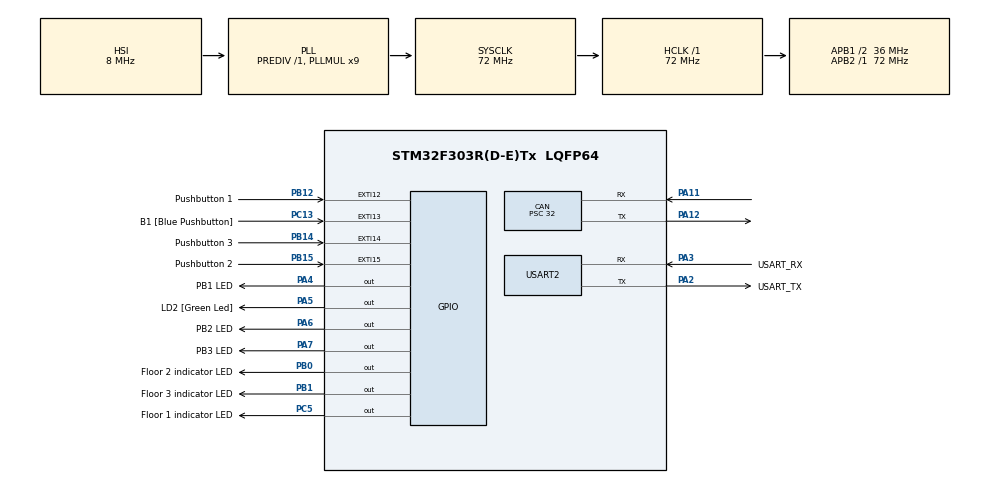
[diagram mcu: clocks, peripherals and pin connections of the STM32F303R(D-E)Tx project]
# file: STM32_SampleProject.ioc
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CAN.BS1=CAN_BS1_4TQ
CAN.BS2=CAN_BS2_4TQ
CAN.CalculateBaudRate=125000
CAN.CalculateTimeBit=8000
CAN.CalculateTimeQuantum=888.8888888888889
CAN.Prescaler=32
Mcu.Family=STM32F3
Mcu.Name=STM32F303R(D-E)Tx
Mcu.Package=LQFP64
NVIC.EXTI15_10_IRQn=true\:0\:0\:false\:false\:true\:true\:true\:true
NVIC.PriorityGroup=NVIC_PRIORITYGROUP_0
NVIC.USB_LP_CAN_RX0_IRQn=true\:0\:0\:false\:false\:true\:true\:true\:true
PA11.Mode=CAN_Activate
PA11.Signal=CAN_RX
PA12.Mode=CAN_Activate
PA12.Signal=CAN_TX
PA13.GPIO_Label=TMS
PA13.Mode=Serial_Wire
PA13.Signal=SYS_JTMS-SWDIO
PA14.GPIO_Label=TCK
PA14.Mode=Serial_Wire
PA14.Signal=SYS_JTCK-SWCLK
PA2.GPIO_Label=USART_TX
PA2.GPIO_Mode=GPIO_MODE_AF_PP
PA2.GPIO_PuPd=GPIO_NOPULL
PA2.GPIO_Speed=GPIO_SPEED_FREQ_LOW
PA2.Mode=Asynchronous
PA2.Signal=USART2_TX
PA3.GPIO_Label=USART_RX
PA3.GPIO_Mode=GPIO_MODE_AF_PP
PA3.GPIO_PuPd=GPIO_NOPULL
PA3.GPIO_Speed=GPIO_SPEED_FREQ_LOW
PA3.Mode=Asynchronous
PA3.Signal=USART2_RX
PA4.GPIO_Label=PB1 LED
PA4.Signal=GPIO_Output
PA5.GPIO_Label=LD2 [Green Led]
PA5.GPIO_Mode=GPIO_MODE_OUTPUT_PP
PA5.GPIO_PuPd=GPIO_NOPULL
PA5.GPIO_Speed=GPIO_SPEED_FREQ_LOW
PA5.Signal=GPIO_Output
PA6.GPIO_Label=PB2 LED
PA6.Signal=GPIO_Output
PA7.GPIO_Label=PB3 LED
PA7.Signal=GPIO_Output
PB0.GPIO_Label=Floor 2 indicator LED
PB0.Signal=GPIO_Output
PB1.GPIO_Label=Floor 3 indicator LED
PB1.Signal=GPIO_Output
PB12.GPIO_Label=Pushbutton 1
PB12.GPIO_ModeDefaultEXTI=GPIO_MODE_IT_FALLING
PB12.Signal=GPXTI12
PB14.GPIO_Label=Pushbutton 3
PB14.GPIO_ModeDefaultEXTI=GPIO_MODE_IT_FALLING
PB14.Signal=GPXTI14
PB15.GPIO_Label=Pushbutton 2
PB15.GPIO_ModeDefaultEXTI=GPIO_MODE_IT_FALLING
PB15.Signal=GPXTI15
PB3.GPIO_Label=SWO
PB3.Signal=SYS_JTDO-TRACESWO
PC13.GPIO_Label=B1 [Blue Pushbutton]
PC13.Signal=GPXTI13
PC14-OSC32_IN.Mode=LSE-External-Oscillator
PC14-OSC32_IN.Signal=RCC_OSC32_IN
PC15-OSC32_OUT.Mode=LSE-External-Oscillator
PC15-OSC32_OUT.Signal=RCC_OSC32_OUT
PC5.GPIO_Label=Floor 1 indicator LED
PC5.Signal=GPIO_Output
PF0-OSC_IN.Mode=HSE-External-Clock-Source
PF0-OSC_IN.Signal=RCC_OSC_IN
PF1-OSC_OUT.Signal=RCC_OSC_OUT
ProjectManager.HeapSize=0x200
ProjectManager.StackSize=0x400
ProjectManager.TargetToolchain=STM32CubeIDE
RCC.AHBFreq_Value=72000000
RCC.APB1CLKDivider=RCC_HCLK_DIV2
RCC.APB1Freq_Value=36000000
RCC.APB1TimFreq_Value=72000000
RCC.APB2Freq_Value=72000000
RCC.APB2TimFreq_Value=72000000
RCC.CortexFreq_Value=72000000
RCC.HCLKFreq_Value=72000000
RCC.HSE_VALUE=8000000
RCC.HSI_VALUE=8000000
RCC.PLLM=8
RCC.PLLMUL=RCC_PLL_MUL9
RCC.PLLN=336
RCC.PLLP=RCC_PLLP_DIV4
RCC.PLLQ=7
RCC.RCC_PLLsource_Clock_Source_FROM_HSE=RCC_HSE_PREDIV_DIV2
RCC.SYSCLKFreq_VALUE=72000000
RCC.SYSCLKSourceVirtual=RCC_SYSCLKSOURCE_PLLCLK
RCC.USBFreq_Value=72000000
USART2.VirtualMode-Asynchronous=VM_ASYNC
board=NUCLEO-F303RE

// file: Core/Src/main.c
 /* USER CODE BEGIN Header */
/**
  ******************************************************************************
  * @file           : main.c
  * @brief          : Main program body
  ******************************************************************************
  * @attention
  *
  * Copyright (c) 2023 STMicroelectronics.
  * All rights reserved.
  *
  * This software is licensed under terms that can be found in the LICENSE file
  * in the root directory of this software component.
  * If no LICENSE file comes with this software, it is provided AS-IS.
  *
  ******************************************************************************
  */
/* USER CODE END Header */
#include "main.h"
#include <stdio.h>
#include "stm32f3xx_it.h"

/* USER CODE BEGIN PD */
/* Private Defines */ //ID=200 ec,201,202,203
#define FC1					0x201
#define FC2					0x202
#define FC3					0x203
#define CC 					0x200

#define ID                  FC1 // set personality of this program for one controller

#define UP					0x04		//up button pressed
#define DOWN					0x02		//down button pressed
#define REQUEST				0x01		//go to floor at request button
#define GO_TO_FLOOR_1		0x05		// arrived at Floor 1
#define GO_TO_FLOOR_2		0x06		// Floor 2
#define GO_TO_FLOOR_3		0x07		// Floor 3
#define NO_BUTTON_PRESSED	0			// Default value of the BUTTON flag - no button has been pressed
#define BLUE_BUTTON_PRESSED	1			// Default value of the BUTTON flag when blue button is pressed (later can add other buttons)
#define BUTTON_1_PRESSED	1			// Default value of the BUTTON flag when blue button is pressed (later can add other buttons)
#define BUTTON_2_PRESSED	2			// Default value of the BUTTON flag when blue button is pressed (later can add other buttons)
#define BUTTON_3_PRESSED	3			// Default value of the BUTTON flag when blue button is pressed (later can add other buttons)
/* USER CODE END PD */

CAN_HandleTypeDef hcan;

UART_HandleTypeDef huart2;

/* USER CODE BEGIN PV */

/* Private variables */
CAN_TxHeaderTypeDef		TxHeader;		// TxHeader is a variable of type CAN_TxHeaaderTypeDef
CAN_RxHeaderTypeDef		RxHeader;
uint8_t					TxData[8];		// 8 bytes of data per frame
uint8_t					RxData[8];
uint32_t				TxMailbox;
uint8_t msg1 = GO_TO_FLOOR_1;			// Initial message is GO_TO_FLOOR_1
uint8_t msg2 = GO_TO_FLOOR_2;
uint8_t msg3 = GO_TO_FLOOR_3;
uint8_t BUTTON = NO_BUTTON_PRESSED;		// Initial value is that no BUTTON has been pressed
uint8_t i;								// For loop variable

/* USER CODE END PV */

void SystemClock_Config(void);
static void MX_GPIO_Init(void);
static void MX_USART2_UART_Init(void);
static void MX_CAN_Init(void);

void SystemClock_Config(void)
{
  RCC_OscInitTypeDef RCC_OscInitStruct = {0};
  RCC_ClkInitTypeDef RCC_ClkInitStruct = {0};
  RCC_PeriphCLKInitTypeDef PeriphClkInit = {0};

  /** Initializes the RCC Oscillator according to the specified parameters
  * in the RCC_OscInitTypeDef structure.
  */
  RCC_OscInitStruct.OscillatorType = RCC_OSCILLATORTYPE_HSI;
  RCC_OscInitStruct.HSIState = RCC_HSI_ON;
  RCC_OscInitStruct.HSICalibrationValue = RCC_HSICALIBRATION_DEFAULT;
  RCC_OscInitStruct.PLL.PLLState = RCC_PLL_ON;
  RCC_OscInitStruct.PLL.PLLSource = RCC_PLLSOURCE_HSI;
  RCC_OscInitStruct.PLL.PLLMUL = RCC_PLL_MUL9;
  RCC_OscInitStruct.PLL.PREDIV = RCC_PREDIV_DIV1;
  if (HAL_RCC_OscConfig(&RCC_OscInitStruct) != HAL_OK)
  {
    Error_Handler();
  }

  /** Initializes the CPU, AHB and APB buses clocks
  */
  RCC_ClkInitStruct.ClockType = RCC_CLOCKTYPE_HCLK|RCC_CLOCKTYPE_SYSCLK
                              |RCC_CLOCKTYPE_PCLK1|RCC_CLOCKTYPE_PCLK2;
  RCC_ClkInitStruct.SYSCLKSource = RCC_SYSCLKSOURCE_PLLCLK;
  RCC_ClkInitStruct.AHBCLKDivider = RCC_SYSCLK_DIV1;
  RCC_ClkInitStruct.APB1CLKDivider = RCC_HCLK_DIV2;
  RCC_ClkInitStruct.APB2CLKDivider = RCC_HCLK_DIV1;

  if (HAL_RCC_ClockConfig(&RCC_ClkInitStruct, FLASH_LATENCY_2) != HAL_OK)
  {
    Error_Handler();
  }
  PeriphClkInit.PeriphClockSelection = RCC_PERIPHCLK_USART2;
  PeriphClkInit.Usart2ClockSelection = RCC_USART2CLKSOURCE_PCLK1;
  if (HAL_RCCEx_PeriphCLKConfig(&PeriphClkInit) != HAL_OK)
  {
    Error_Handler();
  }
}

static void MX_CAN_Init(void)
{

  hcan.Instance = CAN;
  hcan.Init.Prescaler = 32;
  hcan.Init.Mode = CAN_MODE_NORMAL;
  hcan.Init.SyncJumpWidth = CAN_SJW_1TQ;
  hcan.Init.TimeSeg1 = CAN_BS1_4TQ;
  hcan.Init.TimeSeg2 = CAN_BS2_4TQ;
  hcan.Init.TimeTriggeredMode = DISABLE;
  hcan.Init.AutoBusOff = DISABLE;
  hcan.Init.AutoWakeUp = DISABLE;
  hcan.Init.AutoRetransmission = DISABLE;
  hcan.Init.ReceiveFifoLocked = DISABLE;
  hcan.Init.TransmitFifoPriority = DISABLE;
  if (HAL_CAN_Init(&hcan) != HAL_OK)
  {
    Error_Handler();
  }
  /* USER CODE BEGIN CAN_Init 2 */

  /****************************************************************************************/

      /* *** Set up CAN Rx filters *** */
      CAN_FilterTypeDef filter;  							// This is one of the 13 filters - can create more filters - this one will be number 0

      /* Configure filter 0 to direct everything to FIFO 0 */
      filter.FilterBank = 0;							// This is filter number 0
      filter.FilterIdHigh = 0x0100 << 5;      			// Set FilterIdHigh bits by choosing an ID and aligning the bits in the filter register with the receive register by shifting << 5  (See Second lecture in CAN series - last few slides)
      filter.FilterIdLow = 0x0000;						// Not using FilterIdLow bits (set as don't care)
      filter.FilterMaskIdHigh = 0xFFC <<5;				// Same as example in lecture (this gives a range of ID's that will be accepted of between 0x100 and 0x103). Must also align the bits in the Mask register with those in the receive register.
      filter.FilterMaskIdLow = 0x0000;					// Not using FilterMaskLow bits (set as don't care)
      filter.FilterFIFOAssignment = CAN_FILTER_FIFO0;
      filter.FilterMode = CAN_FILTERMODE_IDMASK; 		// uses mask mode (so can set range of IDs)
      filter.FilterScale = CAN_FILTERSCALE_32BIT;		// Use 32 bit filters (doesn't really matter if we use 16 or 32 bit since we are using mask)
      filter.FilterActivation = ENABLE;					// By default the filters are disabled so enable them
      filter.SlaveStartFilterBank = 0;

      if(HAL_CAN_ConfigFilter(&hcan, &filter) != HAL_OK) {	// Set the above values for filter 0
    	Error_Handler();
      }

      /* *** Start the CAN peripheral *** */
      if (HAL_CAN_Start(&hcan) != HAL_OK) {
    	  Error_Handler();
      }

      /* *** Activate CAN Rx notification interrupt *** */
      if (HAL_CAN_ActivateNotification(&hcan, CAN_IT_RX_FIFO0_MSG_PENDING) != HAL_OK) {
    	  Error_Handler();
      }

      /* *** Prepare header fields for Standard Mode CAN Transmission *** */
      TxHeader.IDE = CAN_ID_STD;		 				// Using standard mode. Note this = CAN_ID_EXT for extended mode
      TxHeader.ExtId = 0x00;			 				// Extended ID is not used
      TxHeader.StdId = ID;	 		 					// Standard mode ID is 0x100 -- CHANGE THIS LATER --- sets can id for all messages based on personality
      TxHeader.RTR = CAN_RTR_DATA;	 					// Send a data frame not an RTR
      TxHeader.DLC = 1;				 					// Data length code = 1 (only send one byte)
      TxHeader.TransmitGlobalTime = DISABLE;

      /****************************************************************************************/

  /* USER CODE END CAN_Init 2 */

}

static void MX_USART2_UART_Init(void)
{

  huart2.Instance = USART2;
  huart2.Init.BaudRate = 38400;
  huart2.Init.WordLength = UART_WORDLENGTH_8B;
  huart2.Init.StopBits = UART_STOPBITS_1;
  huart2.Init.Parity = UART_PARITY_NONE;
  huart2.Init.Mode = UART_MODE_TX_RX;
  huart2.Init.HwFlowCtl = UART_HWCONTROL_NONE;
  huart2.Init.OverSampling = UART_OVERSAMPLING_16;
  huart2.Init.OneBitSampling = UART_ONE_BIT_SAMPLE_DISABLE;
  huart2.AdvancedInit.AdvFeatureInit = UART_ADVFEATURE_NO_INIT;
  if (HAL_UART_Init(&huart2) != HAL_OK)
  {
    Error_Handler();
  }

}

static void MX_GPIO_Init(void)
{
  GPIO_InitTypeDef GPIO_InitStruct = {0};

  /* GPIO Ports Clock Enable */
  __HAL_RCC_GPIOC_CLK_ENABLE();
  __HAL_RCC_GPIOF_CLK_ENABLE();
  __HAL_RCC_GPIOA_CLK_ENABLE();
  __HAL_RCC_GPIOB_CLK_ENABLE();

  /*Configure GPIO pin Output Level */
  HAL_GPIO_WritePin(GPIOA, PB1_LED_Pin|LD2_Pin|PB2_LED_Pin|PB3_LED_Pin, GPIO_PIN_RESET);

  /*Configure GPIO pin Output Level */
  HAL_GPIO_WritePin(Floor_1_indicator_LED_GPIO_Port, Floor_1_indicator_LED_Pin, GPIO_PIN_RESET);

  /*Configure GPIO pin Output Level */
  HAL_GPIO_WritePin(GPIOB, Floor_2_indicator_LED_Pin|Floor_3_indicator_LED_Pin, GPIO_PIN_RESET);

  /*Configure GPIO pin : B1_Pin */
  GPIO_InitStruct.Pin = B1_Pin;
  GPIO_InitStruct.Mode = GPIO_MODE_IT_RISING;
  GPIO_InitStruct.Pull = GPIO_NOPULL;
  HAL_GPIO_Init(B1_GPIO_Port, &GPIO_InitStruct);

  /*Configure GPIO pins : PB1_LED_Pin LD2_Pin PB2_LED_Pin PB3_LED_Pin */
  GPIO_InitStruct.Pin = PB1_LED_Pin|LD2_Pin|PB2_LED_Pin|PB3_LED_Pin;
  GPIO_InitStruct.Mode = GPIO_MODE_OUTPUT_PP;
  GPIO_InitStruct.Pull = GPIO_NOPULL;
  GPIO_InitStruct.Speed = GPIO_SPEED_FREQ_LOW;
  HAL_GPIO_Init(GPIOA, &GPIO_InitStruct);

  /*Configure GPIO pin : Floor_1_indicator_LED_Pin */
  GPIO_InitStruct.Pin = Floor_1_indicator_LED_Pin;
  GPIO_InitStruct.Mode = GPIO_MODE_OUTPUT_PP;
  GPIO_InitStruct.Pull = GPIO_NOPULL;
  GPIO_InitStruct.Speed = GPIO_SPEED_FREQ_LOW;
  HAL_GPIO_Init(Floor_1_indicator_LED_GPIO_Port, &GPIO_InitStruct);

  /*Configure GPIO pins : Floor_2_indicator_LED_Pin Floor_3_indicator_LED_Pin */
  GPIO_InitStruct.Pin = Floor_2_indicator_LED_Pin|Floor_3_indicator_LED_Pin;
  GPIO_InitStruct.Mode = GPIO_MODE_OUTPUT_PP;
  GPIO_InitStruct.Pull = GPIO_NOPULL;
  GPIO_InitStruct.Speed = GPIO_SPEED_FREQ_LOW;
  HAL_GPIO_Init(GPIOB, &GPIO_InitStruct);

  /*Configure GPIO pins : Pushbutton_1_Pin Pushbutton_3_Pin Pushbutton_2_Pin */
  GPIO_InitStruct.Pin = Pushbutton_1_Pin|Pushbutton_3_Pin|Pushbutton_2_Pin;
  GPIO_InitStruct.Mode = GPIO_MODE_IT_FALLING;
  GPIO_InitStruct.Pull = GPIO_NOPULL;
  HAL_GPIO_Init(GPIOB, &GPIO_InitStruct);

  /* EXTI interrupt init*/
  HAL_NVIC_SetPriority(EXTI15_10_IRQn, 0, 0);
  HAL_NVIC_EnableIRQ(EXTI15_10_IRQn);

}

/* USER CODE BEGIN 4 */

/************************************************************************************************ */

// Override the HAL_CAN_RxFifo0MsgPendingCallback function.
// This is called when the interrupt for FIFO0 is triggered.
/****************************************************************************************** */
void HAL_CAN_RxFifo0MsgPendingCallback(CAN_HandleTypeDef *hcan)
{
	/* Get RX message and store in RxData[] buffer */
	  if (HAL_CAN_GetRxMessage(hcan, CAN_RX_FIFO0, &RxHeader, RxData) != HAL_OK)
	  {
	    /* Reception Error */
	    Error_Handler();
	  }

}

/* ******************************************************************************************** */

// Override the HAL_GPIO Callback -- 1. light up LED2 and 2. Transmit message when the blue button is pushed
void HAL_GPIO_EXTI_Callback(uint16_t GPIO_Pin)
{
  // Set the BUTTON Flag to indicate which button was pressed
  if (GPIO_Pin == GPIO_PIN_13)					// GPIO pin 13 is the blue push button
  {
	  BUTTON = BLUE_BUTTON_PRESSED;								// Blue button pressed
  }
  if (GPIO_Pin == GPIO_PIN_12)					// GPIO pin 13 is the blue push button
  {
  	  if (HAL_GPIO_ReadPin(GPIOB, GPIO_PIN_12) == GPIO_PIN_RESET){
  		  BUTTON = BUTTON_1_PRESSED;								// Blue button pressed
  	  }
  }
  if (GPIO_Pin == GPIO_PIN_15)					// GPIO pin 13 is the blue push button
      {
      	  if (HAL_GPIO_ReadPin(GPIOB, GPIO_PIN_15) == GPIO_PIN_RESET){
      		  BUTTON = BUTTON_2_PRESSED;								// Blue button pressed
      	  }
      }
  if (GPIO_Pin == GPIO_PIN_14)					// GPIO pin 13 is the blue push button
    {
    	  if (HAL_GPIO_ReadPin(GPIOB, GPIO_PIN_14) == GPIO_PIN_RESET){
    		  BUTTON = BUTTON_3_PRESSED;								// Blue button pressed
    	  }
    }
}

/************************************************************************************************ */

/* USER CODE END 4 */

void Error_Handler(void)
{
  __disable_irq();
  while (1)
  {
  }
}

int main(void)
{

	/* MCU Configuration--------------------------------------------------------*/

	/* Reset of all peripherals, Initializes the Flash interface and the Systick. */
	HAL_Init();

	/* Configure the system clock */
	SystemClock_Config();

	/* Initialize all configured peripherals */
	MX_GPIO_Init();
	MX_USART2_UART_Init();
	MX_CAN_Init();

	/* Infinite loop */
	while (1)
	{

		/* USER CODE BEGIN 3 */
		// Receive
		if (RxData[0] == GO_TO_FLOOR_1) {
			HAL_Delay(2000);					    											// Keep LED on for 2 seconds
			for (i=0; i<8; i++) {
				RxData[i] = 0x00;																	// Reset the RxData[] buffer (used as flag)
			}
			HAL_GPIO_WritePin(GPIOA, GPIO_PIN_4, GPIO_PIN_RESET);  											// Turn off LED1
			HAL_Delay(100);																		// Need a delay after toggle
			printf("Rxdata: %d",RxData[0]);
		}

		if (RxData[0] == GO_TO_FLOOR_2) {
			HAL_Delay(2000);					    											// Keep LED on for 2 seconds
			for (i=0; i<8; i++) {
				RxData[i] = 0x00;																	// Reset the RxData[] buffer (used as flag)
			}
			HAL_GPIO_WritePin(GPIOA, GPIO_PIN_6, GPIO_PIN_RESET);  											// Turn off LED2
			HAL_Delay(100);																		// Need a delay after toggle
			printf("Rxdata: %d",RxData[0]);
		}

		if (RxData[0] == GO_TO_FLOOR_3) {
			HAL_Delay(2000);					    											// Keep LED on for 2 seconds
			for (i = 0; i < 8; i++) {
				RxData[i] = 0x00;																	// Reset the RxData[] buffer (used as flag)
			}
			HAL_GPIO_WritePin(GPIOA, GPIO_PIN_7, GPIO_PIN_RESET);  											// Turn off LED3
			HAL_Delay(100);																		// Need a delay after toggle
			printf("Rxdata: %d", RxData[0]);
		}

		// Transmit
		if (BUTTON != 0) {
			if (BUTTON == BUTTON_1_PRESSED) {												// Button pressed --> Turn on LED1 and Transmit message
				HAL_GPIO_WritePin(GPIOA, GPIO_PIN_4, GPIO_PIN_SET);  							// Turn on LED1
				// Store the 1 character message to transmit into the TxData buffer and transmit over the CAN bus
				TxData[0]=UP;

				/*//printf("go to floor 1");
				if (ID==FC1){
					TxData[0]=0x01;
				}*/
				if (HAL_CAN_AddTxMessage(&hcan, &TxHeader, TxData, &TxMailbox) != HAL_OK) {	// Transmit the message
					Error_Handler();															// Transmission error
				}
				BUTTON = NO_BUTTON_PRESSED; 													// Reset the BUTTON flag
			}
			if (BUTTON == BUTTON_2_PRESSED) {												// Button pressed --> Turn on LED2 and Transmit message
				HAL_GPIO_WritePin(GPIOA, GPIO_PIN_6, GPIO_PIN_SET);  							// Turn on LED2
				TxData[0]=DOWN;

				/*//printf("go to floor 2");
				if (ID==FC2){
					TxData[0]=0x01;
				}*/
				if (HAL_CAN_AddTxMessage(&hcan, &TxHeader, TxData, &TxMailbox) != HAL_OK) {	// Transmit the message
					Error_Handler();															// Transmission error
				}
				BUTTON = NO_BUTTON_PRESSED; 													// Reset the BUTTON flag
			}
			if (BUTTON == BUTTON_3_PRESSED) {												// Button pressed --> Turn on LED3 and Transmit message
				HAL_GPIO_WritePin(GPIOA, GPIO_PIN_7, GPIO_PIN_SET);  							// Turn on LED3
				TxData[0]=REQUEST;
				/*//printf("go to floor 3");
				if (ID==FC3){//CC
					TxData[0]=0x01;
				}*/
				if (HAL_CAN_AddTxMessage(&hcan, &TxHeader, TxData, &TxMailbox) != HAL_OK) {	// Transmit the message
					Error_Handler();															// Transmission error
				}
				BUTTON = NO_BUTTON_PRESSED; 													// Reset the BUTTON flag
			}
		}
	}
	/* USER CODE END 3 */
}
